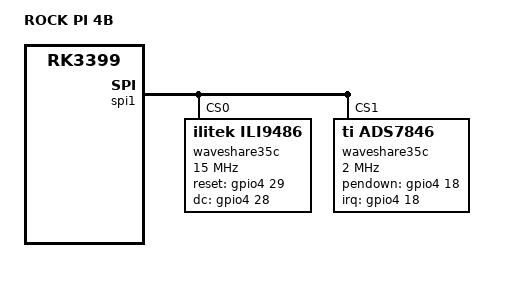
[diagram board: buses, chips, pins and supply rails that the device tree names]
/dts-v1/;
/plugin/;

/ {
	model = "ROCK PI 4B";
	compatible = "rockchip,rockpi","rockchip,rk3399";

	fragment@0 {
		target = <&gpio4>;

		__overlay__ {
			waveshare35c_pins: waveshare35c_pins {
				rockchip,pins = <4 18 0 &pcfg_pull_none>,
								<4 28 0 &pcfg_pull_none>,
								<4 29 0 &pcfg_pull_none>;
			};
		};
	};

	fragment@1 {
		target = <&spi1>;

		__overlay__ {
			status = "okay";
			max-freq = <48000000>;
			#address-cells = <0x1>;
			#size-cells = <0x0>;

			waveshare35c@0 {
				compatible = "ilitek,ili9486";
				status = "okay";
				reg = <0>;
				id = <0>;
				pinctrl-names = "default";
				pinctrl-0 = <&waveshare35c_pins>;
				spi-max-frequency = <15000000>;
				txbuflen = <32768>;
				rotate = <270>;
				bgr = <0>;
				fps = <30>;
				buswidth = <8>;
				regwidth = <16>;
				reset-gpios = <&gpio4 29 0>;
				dc-gpios = <&gpio4 28 0>;
				debug = <0>;
				init = <0x10000b0 0x00
					0x1000011
					0x20000ff
					0x100003a 0x55
					0x1000036 0x28
					0x10000c2 0x44
					0x10000c5 0x00 0x00 0x00 0x00
					0x10000e0 0x0f 0x1f 0x1c 0x0c 0x0f 0x08 0x48 0x98 0x37 0x0a 0x13 0x04 0x11 0x0d 0x00
					0x10000e1 0x0f 0x32 0x2e 0x0b 0x0d 0x05 0x47 0x75 0x37 0x06 0x10 0x03 0x24 0x20 0x00
					0x10000e2 0x0f 0x32 0x2e 0x0b 0x0d 0x05 0x47 0x75 0x37 0x06 0x10 0x03 0x24 0x20 0x00
					0x1000036 0x28
					0x1000011
					0x1000029>;
			};
			waveshare35c@1 {
				compatible = "ti,ads7846";
				status = "okay";
				reg = <1>;
				id = <1>;
				spi-max-frequency = <2000000>;
				interrupts = <18 2>;
				interrupt-parent = <&gpio4>;
				pendown-gpio = <&gpio4 18 0>;
				ti,x-plate-ohms = /bits/ 16 <60>;/*[00 3c];*/
				ti,pressure-max = /bits/ 16 <255>;/*[00 ff];*/
				ti,swap-xy = <0>;
			};
		};
	};
};
